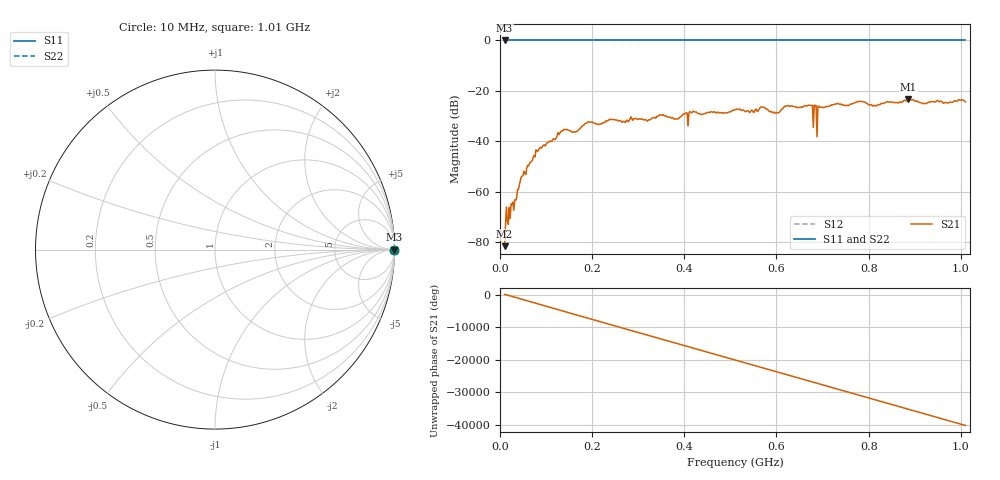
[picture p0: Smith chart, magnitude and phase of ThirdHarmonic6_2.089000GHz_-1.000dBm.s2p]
! 8/17/2025 1:00:27 AM
! C:\ANRITSUVNA\TEMP\TEMP.S2P
! CHANNEL.1
! TR.MEASUREMENT
! RAW.DATA
! RF.CORRECTION.OFF
! AVERAGING.OFF
! IF.BANDWIDTH: 5KHZ
! SWEEPTYPE:  FREQ.SWEEP(Linear)
! Reference Plane Port Info
! PORT:  PORT1  PORT2
! DISTANCE:  0  m  0  m
! TIME:  0  s  0  s
! PHASE.OFFSET:  0  deg.  0  deg.
! LOSS:  0  dB  0  dB
! REF.LOSS:  0  dB  0  dB
! REF.FREQ:  0  Hz  0  Hz
! Power Info
! POWER:  -20  dBm  -20  dBm
! EFF.POWER:  -20  dBm  -20  dBm
! SOURCE.ATTEN:  0  dB  0  dB
! TEST.ATTEN:  0  dB  0  dB
# GHZ S RI R 50.0
! FREQ.GHZ  S11RE  S11IM  S21RE  S21IM  S12RE  S12IM  S22RE  S22IM
!; PortSelection: Port_12
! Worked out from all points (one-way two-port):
!   501 points, 10 MHz to 1.01 GHz, reference 50 ohm
!   highest |S21| = -23.31 dB at 886 MHz (marker M1); lowest = -81.5 dB at 10 MHz (marker M2)
!   lowest |S11| = 0.0 dB at 10 MHz (marker M3)
!   |S11| at or under -10 dB: nowhere
!   |S22| runs from 0.0 to 0.0 dB; largest |S21 - S12| = 1.1
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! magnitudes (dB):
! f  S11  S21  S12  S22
! 10 MHz  0.0  -81.5  0.0  0.0
! 16 MHz  0.0  -71.4  0.0  0.0
! 34 MHz  0.0  -63.3  0.0  0.0
! 48 MHz  0.0  -53.8  0.0  0.0
! 82 MHz  0.0  -43.9  0.0  0.0
! 136 MHz  0.0  -35.8  0.0  0.0
! 178 MHz  0.0  -34.0  0.0  0.0
! 344 MHz  0.0  -29.9  0.0  0.0
! 382 MHz  0.0  -31.0  0.0  0.0
! 416 MHz  0.0  -28.7  0.0  0.0
! 510 MHz  0.0  -27.4  0.0  0.0
! 570 MHz  0.0  -26.4  0.0  0.0
! 600 MHz  0.0  -28.7  0.0  0.0
! 622 MHz  0.0  -25.9  0.0  0.0
! 674 MHz  0.0  -25.7  0.0  0.0
! 678 MHz  0.0  -25.7  0.0  0.0
! 682 MHz  0.0  -25.6  0.0  0.0
! 684 MHz  0.0  -25.8  0.0  0.0
! 694 MHz  0.0  -26.4  0.0  0.0
! 844 MHz  0.0  -24.4  0.0  0.0
! 886 MHz  0.0  -23.3  0.0  0.0
! 1.01 GHz  0.0  -24.3  0.0  0.0
